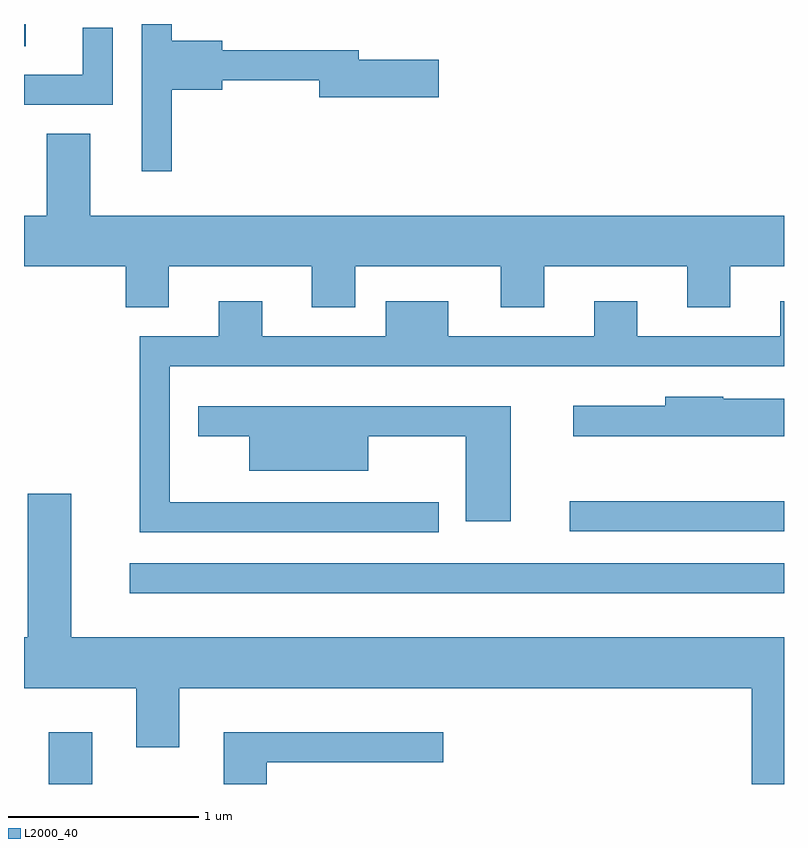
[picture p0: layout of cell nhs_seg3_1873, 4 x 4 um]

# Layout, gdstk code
import gdstk
lib = gdstk.Library(unit=1e-6, precision=1e-09)
def R(c, l, rs):  # rectangles x0, y0, x1, y1
    for r in rs: c.add(gdstk.rectangle(r[:2], r[2:], *l))
def P(c, l, *ps):  # polygons
    for p in ps: c.add(gdstk.Polygon(p, *l))
L2000_40 = (2000, 40)

nhs_seg3_1873 = lib.new_cell('nhs_seg3_1873')
R(nhs_seg3_1873, L2000_40, [(239.741,1189.892,239.969,1190.164), (240.168,1190.896,243.611,1191.054), (242.483,1191.221,243.611,1191.379), (239.611,1193.776,239.619,1193.892)])
P(nhs_seg3_1873, L2000_40, [(240.389,1193.546),(240.654,1193.546),(240.654,1193.596),(241.166,1193.596),(241.166,1193.506),(241.794,1193.506),(241.794,1193.704),(241.374,1193.704),(241.374,1193.754),(240.654,1193.754),(240.654,1193.804),(240.389,1193.804),(240.389,1193.892),(240.231,1193.892),(240.231,1193.118),(240.389,1193.118)],
  [(240.079,1193.873),(239.921,1193.873),(239.921,1193.624),(239.611,1193.624),(239.611,1193.466),(240.079,1193.466)],
  [(240.374,1192.616),(241.126,1192.616),(241.126,1192.401),(241.354,1192.401),(241.354,1192.616),(242.121,1192.616),(242.121,1192.401),(242.349,1192.401),(242.349,1192.616),(243.101,1192.616),(243.101,1192.401),(243.329,1192.401),(243.329,1192.616),(243.611,1192.616),(243.611,1192.884),(239.959,1192.884),(239.959,1193.314),(239.731,1193.314),(239.731,1192.884),(239.611,1192.884),(239.611,1192.616),(240.146,1192.616),(240.146,1192.401),(240.374,1192.401)],
  [(241.793,1191.374),(240.379,1191.374),(240.379,1192.091),(243.611,1192.091),(243.611,1192.434),(243.591,1192.434),(243.591,1192.249),(242.839,1192.249),(242.839,1192.434),(242.611,1192.434),(242.611,1192.249),(241.844,1192.249),(241.844,1192.434),(241.516,1192.434),(241.516,1192.249),(240.864,1192.249),(240.864,1192.434),(240.636,1192.434),(240.636,1192.249),(240.221,1192.249),(240.221,1191.216),(241.793,1191.216)],
  [(243.611,1191.919),(243.29,1191.919),(243.29,1191.929),(242.986,1191.929),(242.986,1191.884),(242.503,1191.884),(242.503,1191.721),(243.611,1191.721)],
  [(242.174,1191.879),(240.528,1191.879),(240.528,1191.721),(240.796,1191.721),(240.796,1191.541),(241.424,1191.541),(241.424,1191.721),(241.936,1191.721),(241.936,1191.276),(242.174,1191.276)],
  [(243.611,1190.664),(239.859,1190.664),(239.859,1191.419),(239.631,1191.419),(239.631,1190.664),(239.611,1190.664),(239.611,1190.396),(240.201,1190.396),(240.201,1190.086),(240.429,1190.086),(240.429,1190.396),(243.441,1190.396),(243.441,1189.892),(243.611,1189.892)],
  [(240.889,1190.006),(241.818,1190.006),(241.818,1190.164),(240.661,1190.164),(240.661,1189.892),(240.889,1189.892)])

lib.write_gds('nhs_seg3_1873.gds')
